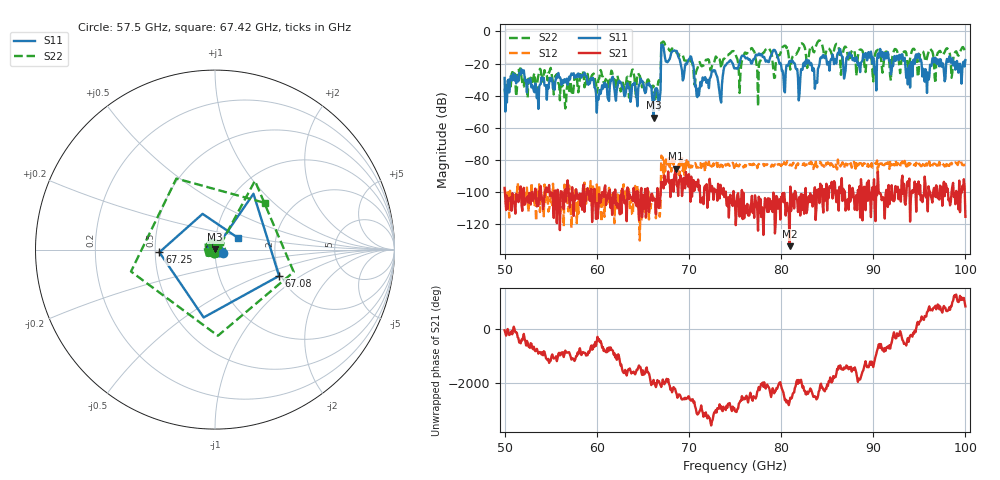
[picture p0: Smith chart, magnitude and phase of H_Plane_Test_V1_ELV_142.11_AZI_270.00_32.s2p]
! 11/27/2026 8:22:38 AM
! C:\ANRITSUVNA\TEMP\TEMP.S2P
! CHANNEL.1
! TR.MEASUREMENT
! RAW.DATA
# HZ S RI R 50.0
! FREQ.HZ  S11RE  S11IM  S21RE  S21IM  S12RE  S12IM  S22RE  S22IM
!; PortSelection: Port_12
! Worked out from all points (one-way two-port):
!   601 points, 50 GHz to 100 GHz, reference 50 ohm
!   highest |S21| = -85.62 dB at 68.58 GHz (marker M1); lowest = -134.0 dB at 80.92 GHz (marker M2)
!   lowest |S11| = -53.7 dB at 66.17 GHz (marker M3), VSWR 1.00, Z = 50.1 + j0.154 ohm
!   |S11| at or under -10 dB: start of sweep to 67 GHz; 67.24 GHz to end of sweep
!   |S22| runs from -48.0 to -5.6 dB; largest |S21 - S12| = 0.00014
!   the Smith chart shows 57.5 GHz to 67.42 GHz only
!   S11 on the Smith chart (normalised r, x): 57.5 GHz: 1.09, -0.05; 67.08 GHz: 1.96, -0.67; 67.25 GHz: 0.53, -0.02; 67.42 GHz: 1.29, +0.17
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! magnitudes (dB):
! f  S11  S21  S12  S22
! 50 GHz  -29.0  -97.6  -98.0  -35.6
! 51.67 GHz  -26.2  -99.1  -100.4  -23.1
! 53.42 GHz  -34.7  -103.8  -118.3  -34.8
! 57.5 GHz  -26.1  -115.0  -100.9  -34.4
! 58.42 GHz  -27.1  -111.3  -105.0  -24.7
! 60.17 GHz  -42.7  -111.1  -107.7  -30.2
! 66.17 GHz  -53.7  -103.9  -104.4  -33.9
! 66.67 GHz  -41.8  -107.1  -101.0  -31.5
! 67.08 GHz  -8.3  -95.6  -78.3  -6.8
! 67.25 GHz  -10.2  -97.9  -91.4  -6.3
! 67.42 GHz  -16.8  -95.7  -87.3  -8.4
! 68.58 GHz  -12.2  -85.6  -85.9  -12.3
! 70.25 GHz  -16.0  -90.6  -83.9  -18.8
! 70.92 GHz  -41.0  -96.7  -84.7  -23.1
! 75 GHz  -23.1  -106.9  -81.7  -13.0
! 80.92 GHz  -18.4  -134.0  -83.5  -19.5
! 83.42 GHz  -24.6  -109.2  -84.2  -10.8
! 91.67 GHz  -16.6  -95.8  -84.4  -15.3
! 93.75 GHz  -33.0  -93.5  -81.5  -21.7
! 94.83 GHz  -14.9  -96.9  -84.2  -28.4
! 95.83 GHz  -38.3  -101.8  -83.7  -16.4
! 100 GHz  -17.8  -115.6  -83.3  -12.6
